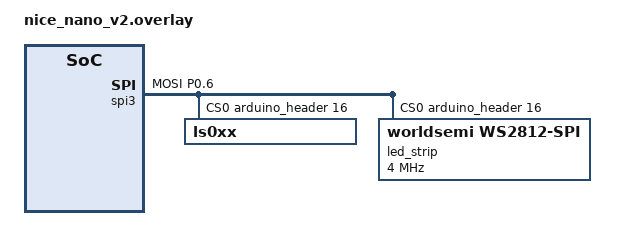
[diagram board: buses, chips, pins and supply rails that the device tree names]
#include <dt-bindings/led/led.h>

&pinctrl {
    spi3_default: spi3_default {
        group1 {
            psels = <NRF_PSEL(SPIM_MOSI, 0, 6)>;
        };
    };

    spi3_sleep: spi3_sleep {
        group1 {
            psels = <NRF_PSEL(SPIM_MOSI, 0, 6)>;
            low-power-enable;
        };
    };
};

&spi3 {
    compatible = "nordic,nrf-spim";
    status = "okay";
    cs-gpios = <&arduino_header 16 GPIO_ACTIVE_HIGH>;

    // Needed so the nice_view shield will enhance the existing node which falls *first*
    // on the bus, properly picking up the first `cs-gpios` specifier.
    ls0xx@0 {
        reg = <0>;

        power-domain = <&core_power_domain>;
        zephyr,pm-device-runtime-auto;
    };


    pinctrl-0 = <&spi3_default>;
    pinctrl-1 = <&spi3_sleep>;
    pinctrl-names = "default", "sleep";

    led_strip: ws2812@0 {
        compatible = "worldsemi,ws2812-spi";
        
        power-domain = <&rgb_power>;
        zephyr,pm-device-runtime-auto;
        
        /* SPI */
        reg = <0>; /* ignored, but necessary for SPI bindings */
        spi-max-frequency = <4000000>;

        /* WS2812 */
        chain-length = <18>; /* arbitrary; change at will */
        spi-one-frame = <0x70>;
        spi-zero-frame = <0x40>;

        color-mapping = <LED_COLOR_ID_GREEN LED_COLOR_ID_RED LED_COLOR_ID_BLUE>;
    };
};

/ {
    chosen {
        zmk,underglow = &led_strip;
    };
};
